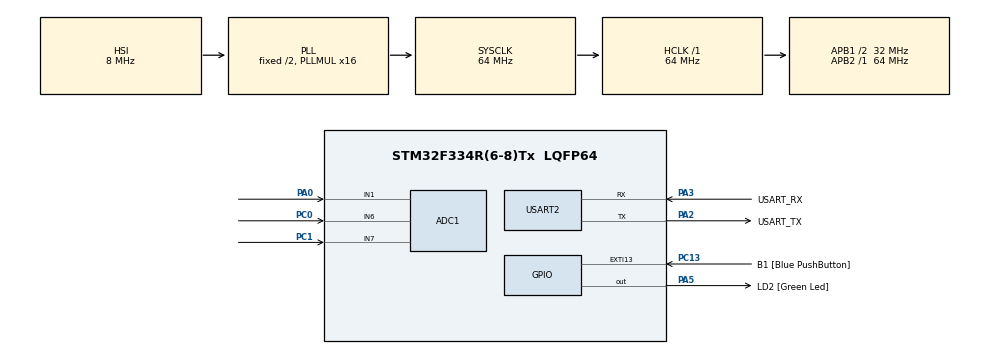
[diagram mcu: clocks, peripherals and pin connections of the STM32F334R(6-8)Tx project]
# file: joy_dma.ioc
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ADC1.Channel-0\#ChannelRegularConversion=ADC_CHANNEL_1
ADC1.Channel-1\#ChannelRegularConversion=ADC_CHANNEL_6
ADC1.Channel-2\#ChannelRegularConversion=ADC_CHANNEL_7
ADC1.ClockPrescaler=ADC_CLOCK_SYNC_PCLK_DIV4
ADC1.DMAContinuousRequests=ENABLE
ADC1.ExternalTrigConv=ADC_EXTERNALTRIGCONV_T3_TRGO
ADC1.NbrOfConversion=3
ADC1.NbrOfConversionFlag=1
ADC1.Offset-0\#ChannelRegularConversion=0
ADC1.Offset-1\#ChannelRegularConversion=0
ADC1.Offset-2\#ChannelRegularConversion=0
ADC1.OffsetNumber-0\#ChannelRegularConversion=ADC_OFFSET_NONE
ADC1.OffsetNumber-1\#ChannelRegularConversion=ADC_OFFSET_NONE
ADC1.OffsetNumber-2\#ChannelRegularConversion=ADC_OFFSET_NONE
ADC1.Rank-0\#ChannelRegularConversion=1
ADC1.Rank-1\#ChannelRegularConversion=2
ADC1.Rank-2\#ChannelRegularConversion=3
ADC1.SamplingTime-0\#ChannelRegularConversion=ADC_SAMPLETIME_61CYCLES_5
ADC1.SamplingTime-1\#ChannelRegularConversion=ADC_SAMPLETIME_61CYCLES_5
ADC1.SamplingTime-2\#ChannelRegularConversion=ADC_SAMPLETIME_61CYCLES_5
ADC1.SamplingTimeOPAMP-1\#ChannelRegularConversion=ADC_SAMPLETIME_7CYCLES_5
ADC1.SamplingTimeOPAMP-2\#ChannelRegularConversion=ADC_SAMPLETIME_7CYCLES_5
ADC1.master=1
Dma.ADC1.0.Direction=DMA_PERIPH_TO_MEMORY
Dma.ADC1.0.Instance=DMA1_Channel1
Dma.ADC1.0.MemDataAlignment=DMA_MDATAALIGN_HALFWORD
Dma.ADC1.0.MemInc=DMA_MINC_ENABLE
Dma.ADC1.0.Mode=DMA_CIRCULAR
Dma.ADC1.0.PeriphDataAlignment=DMA_PDATAALIGN_HALFWORD
Dma.ADC1.0.PeriphInc=DMA_PINC_DISABLE
Dma.ADC1.0.Priority=DMA_PRIORITY_LOW
Dma.Request0=ADC1
Mcu.Family=STM32F3
Mcu.Name=STM32F334R(6-8)Tx
Mcu.Package=LQFP64
NVIC.DMA1_Channel1_IRQn=true\:0\:0\:false\:false\:true\:false\:true\:true
NVIC.PriorityGroup=NVIC_PRIORITYGROUP_0
PA0.Mode=IN1-Single-Ended
PA0.Signal=ADC1_IN1
PA13.GPIO_Label=TMS
PA13.Mode=Serial_Wire
PA13.Signal=SYS_JTMS-SWDIO
PA14.GPIO_Label=TCK
PA14.Mode=Serial_Wire
PA14.Signal=SYS_JTCK-SWCLK
PA2.GPIO_Label=USART_TX
PA2.Mode=Asynchronous
PA2.Signal=USART2_TX
PA3.GPIO_Label=USART_RX
PA3.Mode=Asynchronous
PA3.Signal=USART2_RX
PA5.GPIO_Label=LD2 [Green Led]
PA5.Signal=GPIO_Output
PB3.GPIO_Label=SWO
PB3.Signal=SYS_JTDO-TRACESWO
PC0.Signal=ADCx_IN6
PC1.Signal=ADCx_IN7
PC13.GPIO_Label=B1 [Blue PushButton]
PC13.GPIO_ModeDefaultEXTI=GPIO_MODE_IT_FALLING
PC13.Signal=GPXTI13
PC14\ /\ OSC32_IN.Mode=LSE-External-Oscillator
PC14\ /\ OSC32_IN.Signal=RCC_OSC32_IN
PC15\ /\ OSC32_OUT.GPIO_Label=RCC_OSC32_OUT
PC15\ /\ OSC32_OUT.Mode=LSE-External-Oscillator
PC15\ /\ OSC32_OUT.Signal=RCC_OSC32_OUT
PF0\ /\ OSC_IN.Mode=HSE-External-Clock-Source
PF0\ /\ OSC_IN.Signal=RCC_OSC_IN
PF1\ /\ OSC_OUT.Signal=RCC_OSC_OUT
ProjectManager.HeapSize=0x200
ProjectManager.StackSize=0x400
ProjectManager.TargetToolchain=STM32CubeIDE
RCC.AHBFreq_Value=64000000
RCC.APB1CLKDivider=RCC_HCLK_DIV2
RCC.APB1Freq_Value=32000000
RCC.APB1TimFreq_Value=64000000
RCC.APB2Freq_Value=64000000
RCC.APB2TimFreq_Value=64000000
RCC.CortexFreq_Value=64000000
RCC.FLatency-AdvancedSettings=FLASH_LATENCY_2
RCC.HCLKFreq_Value=64000000
RCC.HSE_VALUE=8000000
RCC.HSI_VALUE=8000000
RCC.PLLMUL=RCC_PLL_MUL16
RCC.SYSCLKFreq_VALUE=64000000
RCC.SYSCLKSourceVirtual=RCC_SYSCLKSOURCE_PLLCLK
SH.ADCx_IN6.0=ADC1_IN6,IN6-Single-Ended
SH.ADCx_IN7.0=ADC1_IN7,IN7-Single-Ended
TIM3.AutoReloadPreload=TIM_AUTORELOAD_PRELOAD_ENABLE
TIM3.Period=999
TIM3.Prescaler=6799
TIM3.TIM_MasterOutputTrigger=TIM_TRGO_UPDATE
USART2.VirtualMode-Asynchronous=VM_ASYNC
VP_TIM3_VS_ClockSourceINT.Mode=Internal
board=NUCLEO-F334R8

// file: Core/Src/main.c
/* USER CODE BEGIN Header */
/**
  ******************************************************************************
  * @file           : main.c
  * @brief          : Main program body
  ******************************************************************************
  * @attention
  *
  * Copyright (c) 2022 STMicroelectronics.
  * All rights reserved.
  *
  * This software is licensed under terms that can be found in the LICENSE file
  * in the root directory of this software component.
  * If no LICENSE file comes with this software, it is provided AS-IS.
  *
  ******************************************************************************
  */
/* USER CODE END Header */
#include "main.h"

/* USER CODE BEGIN Includes */
#include "stdio.h"
/* USER CODE END Includes */

/* USER CODE BEGIN PD */
 uint16_t AC[3] = {0, };
 uint16_t x,y,sw = 0;
 uint8_t adcIndex = 0;
 uint32_t oldTick, newTick, gapTick;
/* USER CODE END PD */

ADC_HandleTypeDef hadc1;
DMA_HandleTypeDef hdma_adc1;

TIM_HandleTypeDef htim3;

UART_HandleTypeDef huart2;

void SystemClock_Config(void);
static void MX_GPIO_Init(void);
static void MX_DMA_Init(void);
static void MX_USART2_UART_Init(void);
static void MX_ADC1_Init(void);
static void MX_TIM3_Init(void);

/* USER CODE BEGIN 0 */
#ifdef __GNUC__
/* With GCC, small printf (option LD Linker->Libraries->Small printf
set to 'Yes') calls __io_putchar() */
#define PUTCHAR_PROTOTYPE int __io_putchar(int ch)
#else
#define PUTCHAR_PROTOTYPE int fputc(int ch, FILE *f)
#endif /* __GNUC__ */
/**
* @brief Retargets the C library printf function to the USART.
* @param None
* @retval None
*/
PUTCHAR_PROTOTYPE
{
/* Place your implementation of fputc here */
/* e.g. write a character to the USART1 and Loop until the end of transmission */
if (ch == '\n')
HAL_UART_Transmit (&huart2, (uint8_t*) "\r", 1, 0xFFFF);
HAL_UART_Transmit (&huart2, (uint8_t*) &ch, 1, 0xFFFF);
return ch;
}
/* USER CODE END 0 */

int main(void)
{

  /* MCU Configuration--------------------------------------------------------*/

  /* Reset of all peripherals, Initializes the Flash interface and the Systick. */
  HAL_Init();

  /* Configure the system clock */
  SystemClock_Config();

  /* Initialize all configured peripherals */
  MX_GPIO_Init();
  MX_DMA_Init();
  MX_USART2_UART_Init();
  MX_ADC1_Init();
  MX_TIM3_Init();
  /* USER CODE BEGIN 2 */
  HAL_TIM_Base_Start(&htim3);
  HAL_ADC_Start_DMA(&hadc1, (uint32_t*)AC, 3);
  /* USER CODE END 2 */

  /* Infinite loop */
  /* USER CODE BEGIN WHILE */
  while (1)
  {
	 // printf ("%4d, %4d, %4d \n", x, y, sw);
    /* USER CODE END WHILE */

  }
}

void SystemClock_Config(void)
{
  RCC_OscInitTypeDef RCC_OscInitStruct = {0};
  RCC_ClkInitTypeDef RCC_ClkInitStruct = {0};

  /** Initializes the RCC Oscillators according to the specified parameters
  * in the RCC_OscInitTypeDef structure.
  */
  RCC_OscInitStruct.OscillatorType = RCC_OSCILLATORTYPE_HSI;
  RCC_OscInitStruct.HSIState = RCC_HSI_ON;
  RCC_OscInitStruct.HSICalibrationValue = RCC_HSICALIBRATION_DEFAULT;
  RCC_OscInitStruct.PLL.PLLState = RCC_PLL_ON;
  RCC_OscInitStruct.PLL.PLLSource = RCC_PLLSOURCE_HSI;
  RCC_OscInitStruct.PLL.PLLMUL = RCC_PLL_MUL16;
  if (HAL_RCC_OscConfig(&RCC_OscInitStruct) != HAL_OK)
  {
    Error_Handler();
  }

  /** Initializes the CPU, AHB and APB buses clocks
  */
  RCC_ClkInitStruct.ClockType = RCC_CLOCKTYPE_HCLK|RCC_CLOCKTYPE_SYSCLK
                              |RCC_CLOCKTYPE_PCLK1|RCC_CLOCKTYPE_PCLK2;
  RCC_ClkInitStruct.SYSCLKSource = RCC_SYSCLKSOURCE_PLLCLK;
  RCC_ClkInitStruct.AHBCLKDivider = RCC_SYSCLK_DIV1;
  RCC_ClkInitStruct.APB1CLKDivider = RCC_HCLK_DIV2;
  RCC_ClkInitStruct.APB2CLKDivider = RCC_HCLK_DIV1;

  if (HAL_RCC_ClockConfig(&RCC_ClkInitStruct, FLASH_LATENCY_2) != HAL_OK)
  {
    Error_Handler();
  }
}

static void MX_ADC1_Init(void)
{

  ADC_MultiModeTypeDef multimode = {0};
  ADC_ChannelConfTypeDef sConfig = {0};

  /** Common config
  */
  hadc1.Instance = ADC1;
  hadc1.Init.ClockPrescaler = ADC_CLOCK_SYNC_PCLK_DIV4;
  hadc1.Init.Resolution = ADC_RESOLUTION_12B;
  hadc1.Init.ScanConvMode = ADC_SCAN_ENABLE;
  hadc1.Init.ContinuousConvMode = DISABLE;
  hadc1.Init.DiscontinuousConvMode = DISABLE;
  hadc1.Init.ExternalTrigConvEdge = ADC_EXTERNALTRIGCONVEDGE_RISING;
  hadc1.Init.ExternalTrigConv = ADC_EXTERNALTRIGCONV_T3_TRGO;
  hadc1.Init.DataAlign = ADC_DATAALIGN_RIGHT;
  hadc1.Init.NbrOfConversion = 3;
  hadc1.Init.DMAContinuousRequests = ENABLE;
  hadc1.Init.EOCSelection = ADC_EOC_SINGLE_CONV;
  hadc1.Init.LowPowerAutoWait = DISABLE;
  hadc1.Init.Overrun = ADC_OVR_DATA_OVERWRITTEN;
  if (HAL_ADC_Init(&hadc1) != HAL_OK)
  {
    Error_Handler();
  }

  /** Configure the ADC multi-mode
  */
  multimode.Mode = ADC_MODE_INDEPENDENT;
  if (HAL_ADCEx_MultiModeConfigChannel(&hadc1, &multimode) != HAL_OK)
  {
    Error_Handler();
  }

  /** Configure Regular Channel
  */
  sConfig.Channel = ADC_CHANNEL_1;
  sConfig.Rank = ADC_REGULAR_RANK_1;
  sConfig.SingleDiff = ADC_SINGLE_ENDED;
  sConfig.SamplingTime = ADC_SAMPLETIME_61CYCLES_5;
  sConfig.OffsetNumber = ADC_OFFSET_NONE;
  sConfig.Offset = 0;
  if (HAL_ADC_ConfigChannel(&hadc1, &sConfig) != HAL_OK)
  {
    Error_Handler();
  }

  /** Configure Regular Channel
  */
  sConfig.Channel = ADC_CHANNEL_6;
  sConfig.Rank = ADC_REGULAR_RANK_2;
  if (HAL_ADC_ConfigChannel(&hadc1, &sConfig) != HAL_OK)
  {
    Error_Handler();
  }

  /** Configure Regular Channel
  */
  sConfig.Channel = ADC_CHANNEL_7;
  sConfig.Rank = ADC_REGULAR_RANK_3;
  if (HAL_ADC_ConfigChannel(&hadc1, &sConfig) != HAL_OK)
  {
    Error_Handler();
  }

}

static void MX_TIM3_Init(void)
{

  TIM_ClockConfigTypeDef sClockSourceConfig = {0};
  TIM_MasterConfigTypeDef sMasterConfig = {0};

  htim3.Instance = TIM3;
  htim3.Init.Prescaler = 6799;
  htim3.Init.CounterMode = TIM_COUNTERMODE_UP;
  htim3.Init.Period = 999;
  htim3.Init.ClockDivision = TIM_CLOCKDIVISION_DIV1;
  htim3.Init.AutoReloadPreload = TIM_AUTORELOAD_PRELOAD_ENABLE;
  if (HAL_TIM_Base_Init(&htim3) != HAL_OK)
  {
    Error_Handler();
  }
  sClockSourceConfig.ClockSource = TIM_CLOCKSOURCE_INTERNAL;
  if (HAL_TIM_ConfigClockSource(&htim3, &sClockSourceConfig) != HAL_OK)
  {
    Error_Handler();
  }
  sMasterConfig.MasterOutputTrigger = TIM_TRGO_UPDATE;
  sMasterConfig.MasterSlaveMode = TIM_MASTERSLAVEMODE_DISABLE;
  if (HAL_TIMEx_MasterConfigSynchronization(&htim3, &sMasterConfig) != HAL_OK)
  {
    Error_Handler();
  }

}

static void MX_USART2_UART_Init(void)
{

  huart2.Instance = USART2;
  huart2.Init.BaudRate = 38400;
  huart2.Init.WordLength = UART_WORDLENGTH_8B;
  huart2.Init.StopBits = UART_STOPBITS_1;
  huart2.Init.Parity = UART_PARITY_NONE;
  huart2.Init.Mode = UART_MODE_TX_RX;
  huart2.Init.HwFlowCtl = UART_HWCONTROL_NONE;
  huart2.Init.OverSampling = UART_OVERSAMPLING_16;
  huart2.Init.OneBitSampling = UART_ONE_BIT_SAMPLE_DISABLE;
  huart2.AdvancedInit.AdvFeatureInit = UART_ADVFEATURE_NO_INIT;
  if (HAL_UART_Init(&huart2) != HAL_OK)
  {
    Error_Handler();
  }

}

static void MX_DMA_Init(void)
{

  /* DMA controller clock enable */
  __HAL_RCC_DMA1_CLK_ENABLE();

  /* DMA interrupt init */
  /* DMA1_Channel1_IRQn interrupt configuration */
  HAL_NVIC_SetPriority(DMA1_Channel1_IRQn, 0, 0);
  HAL_NVIC_EnableIRQ(DMA1_Channel1_IRQn);

}

static void MX_GPIO_Init(void)
{
  GPIO_InitTypeDef GPIO_InitStruct = {0};

  /* GPIO Ports Clock Enable */
  __HAL_RCC_GPIOC_CLK_ENABLE();
  __HAL_RCC_GPIOF_CLK_ENABLE();
  __HAL_RCC_GPIOA_CLK_ENABLE();
  __HAL_RCC_GPIOB_CLK_ENABLE();

  /*Configure GPIO pin Output Level */
  HAL_GPIO_WritePin(LD2_GPIO_Port, LD2_Pin, GPIO_PIN_RESET);

  /*Configure GPIO pin : B1_Pin */
  GPIO_InitStruct.Pin = B1_Pin;
  GPIO_InitStruct.Mode = GPIO_MODE_IT_FALLING;
  GPIO_InitStruct.Pull = GPIO_NOPULL;
  HAL_GPIO_Init(B1_GPIO_Port, &GPIO_InitStruct);

  /*Configure GPIO pin : LD2_Pin */
  GPIO_InitStruct.Pin = LD2_Pin;
  GPIO_InitStruct.Mode = GPIO_MODE_OUTPUT_PP;
  GPIO_InitStruct.Pull = GPIO_NOPULL;
  GPIO_InitStruct.Speed = GPIO_SPEED_FREQ_LOW;
  HAL_GPIO_Init(LD2_GPIO_Port, &GPIO_InitStruct);

}

/* USER CODE BEGIN 4 */
void HAL_ADC_ConvCpltCallback(ADC_HandleTypeDef* hadc) {

	newTick = HAL_GetTick();
	gapTick = newTick - oldTick;
	oldTick = newTick;

	x = AC[0];
	y = AC[1];
	sw = AC[2];

	if(sw <50) sw = 0;
	else sw = 5000;
	 printf ("%4d, %4d, %4d \n", x, y, sw);
}

/* USER CODE END 4 */

void Error_Handler(void)
{
  __disable_irq();
  while (1)
  {
  }
}
